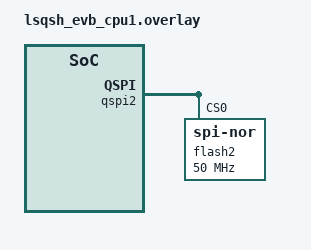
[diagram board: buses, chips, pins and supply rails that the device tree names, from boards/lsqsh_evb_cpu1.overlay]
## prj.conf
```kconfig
CONFIG_PRINTK=y
CONFIG_LOG=y
CONFIG_FLASH=y
CONFIG_FLASH_PAGE_LAYOUT=y
CONFIG_SPI=y
CONFIG_SPI_NOR=n
CONFIG_SPI_NOR_SFDP_RUNTIME=y
CONFIG_SPI_NOR_MULTI_DEV=y

CONFIG_SPI_EXTENDED_MODES=y
CONFIG_I2C=n
CONFIG_LOG_MODE_DEFERRED=n
CONFIG_LOG_MODE_IMMEDIATE=y
```

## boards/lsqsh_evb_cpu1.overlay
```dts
&qspi2 {
	status = "okay";
	auto-wait-ready;
	auto-wait-interval = <1000>;
	flash2: flash2@0 {
		compatible = "jedec,spi-nor";
		reg = <0>;
		spi-max-frequency = <DT_FREQ_M(50)>;
		spi-max-buswidth = <4>;
		status = "okay";
	};
};
```

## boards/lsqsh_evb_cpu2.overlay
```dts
&chosen {
    zephyr,flash-controller = &qspi1;
    zephyr,console = &uart5;
    zephyr,shell-uart = &uart5;
};
&qspi2 {
	status = "okay";
	auto-wait-ready;
	auto-wait-interval = <1000>;
	flash2: flash2@0 {
		compatible = "jedec,spi-nor";
		reg = <0>;
		spi-max-frequency = <DT_FREQ_M(50)>;
		//spi-max-buswidth = <4>;
		status = "okay";
	};
};


&pinctrl {
	/omit-if-no-ref/uart4_tx_pd11: uart4_tx_pd11 {
	pinmux = <UART4_TXD_FUNC1_IDX09_PINMUX_PD(11)>;
};

	/omit-if-no-ref/uart4_rx_pd12: uart4_rx_pd12 {
	pinmux = <UART4_RXD_FUNC1_IDX10_PINMUX_PD(12)>;
	input-enable;
};
	/omit-if-no-ref/uart5_tx_pn14: uart5_tx_pn14 {
	pinmux = <UART5_TXD_FUNC4_PN14_PINMUX>;
};
	/omit-if-no-ref/uart5_rx_pn13: uart5_rx_pn13 {
	pinmux = <UART5_RXD_FUNC4_PN13_PINMUX>;
	input-enable;
};

};

&uart4 {
	status = "disabled";
	pinctrl-0 = <&uart4_tx_pd11 &uart4_rx_pd12>;
	pinctrl-names = "default";
};

#if 1
&uart5 {
	status = "okay";
	pinctrl-0 = <&uart5_tx_pn14 &uart5_rx_pn13>;
	pinctrl-names = "default";
};
#endif

#if 0
#undef SRAM_TOTAL_SIZE
#undef SRAM_RO_SIZE
#undef SRAM_RW_SIZE

#define SRAM_TOTAL_SIZE DT_SIZE_K(512 - 128)
#define SRAM_RO_SIZE    DT_SIZE_K(256 - 128)
#define SRAM_RW_SIZE    (SRAM_TOTAL_SIZE - SRAM_RO_SIZE)

&sram_ro {
    reg = <0x10020000 SRAM_RO_SIZE>;
};

&sram {
    reg = <(0x10020000 + SRAM_RO_SIZE) SRAM_RW_SIZE>;
};
#endif
```

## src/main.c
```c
/*
 * Copyright (c) 2026 LinkedSemi
 *
 * SPDX-License-Identifier: Apache-2.0
 */

#include <stdio.h>
#include <string.h>

#include <zephyr/device.h>
#include <zephyr/devicetree.h>
#include <zephyr/drivers/flash.h>
#include <zephyr/drivers/qspi_ls.h>
#include <zephyr/kernel.h>
#include <zephyr/logging/log.h>

LOG_MODULE_REGISTER(flash_calib_sample, LOG_LEVEL_INF);

#define FLASH_NODE DT_NODELABEL(flash2)
#define QSPI_NODE  DT_PARENT(FLASH_NODE)

static const struct device *const flash_dev = DEVICE_DT_GET(FLASH_NODE);
static const struct device *const qspi_dev = DEVICE_DT_GET(QSPI_NODE);

static const char *calib_status_str(int status)
{
	switch (status) {
	case QSPI_TIMING_CALIB_UNUSED:
		return "unused";
	case QSPI_TIMING_CALIB_SUCCESS:
		return "success";
	case QSPI_TIMING_CALIB_FAILED:
		return "failed";
	default:
		return "unknown";
	}
}

static int read_jedec_id(void)
{
	uint8_t id[3];
	int rc = flash_read_jedec_id(flash_dev, id);

	if (rc == 0) {
		LOG_INF("JEDEC ID = [%02x %02x %02x]", id[0], id[1], id[2]);
	} else {
		LOG_ERR("JEDEC ID read failed: %d", rc);
	}

	return rc;
}

static int check_calib_status(const char *stage)
{
	int status = qspi_timing_calibration_status(qspi_dev);

	if (status < 0) {
		LOG_ERR("[%s] calib status query failed: %d", stage, status);
		return status;
	}

	LOG_INF("[%s] calib status: %s (%d)", stage,
		calib_status_str(status), status);
	return status;
}

static int check_calib_value(const char *stage)
{
	struct qspi_timing_calib_value value;
	int rc;

	rc = qspi_timing_calibration_value(NULL, &value);
	if (rc != -EINVAL) {
		LOG_ERR("[%s] calib value(NULL dev) expected -EINVAL, got %d",
			stage, rc);
		return -EIO;
	}

	rc = qspi_timing_calibration_value(qspi_dev, NULL);
	if (rc != -EINVAL) {
		LOG_ERR("[%s] calib value(NULL out) expected -EINVAL, got %d",
			stage, rc);
		return -EIO;
	}

	rc = qspi_timing_calibration_value(qspi_dev, &value);
	if (rc != 0) {
		LOG_ERR("[%s] calib value query failed: %d", stage, rc);
		return rc;
	}

	if (value.cap_neg > 1U || value.cap_dly > 3U) {
		LOG_ERR("[%s] calib value out of range: cap_neg=%u cap_dly=%u",
			stage, value.cap_neg, value.cap_dly);
		return -EIO;
	}

	LOG_INF("[%s] calib value: cap_neg=%u cap_dly=%u",
		stage, value.cap_neg, value.cap_dly);
	return 0;
}

int main(void)
{
	int status;
	int rc;

	if (!device_is_ready(flash_dev)) {
		LOG_ERR("flash device not ready");
		return 0;
	}

	if (!device_is_ready(qspi_dev)) {
		LOG_ERR("QSPI device not ready");
		return 0;
	}

	/*
	 * JEDEC ID read triggers qspi_ls timing calibration. The reference and
	 * the sweep both use RDID, not a data pattern stored in flash.
	 */
	rc = read_jedec_id();
	if (rc != 0) {
		LOG_ERR("========== calibration sample FAILED (%d) ==========", rc);
		return 0;
	}

	status = check_calib_status("read calibration status");
	LOG_INF("current calib status: %s (%d), is QSPI_TIMING_CALIB_SUCCESS: %s",
		status < 0 ? "query failed" : calib_status_str(status), status,
		status == QSPI_TIMING_CALIB_SUCCESS ? "yes" : "no");
	if (status != QSPI_TIMING_CALIB_SUCCESS &&
	    status != QSPI_TIMING_CALIB_UNUSED) {
		LOG_ERR("========== calibration sample FAILED (status %d) ==========",
			status);
		return status < 0 ? status : -EIO;
	}

	rc = check_calib_value("read calibration value");
	if (rc != 0) {
		LOG_ERR("========== calibration sample FAILED (%d) ==========", rc);
		return rc;
	}

	LOG_INF("========== ALL TEST PASSED ==========");
	return 0;
}
```
